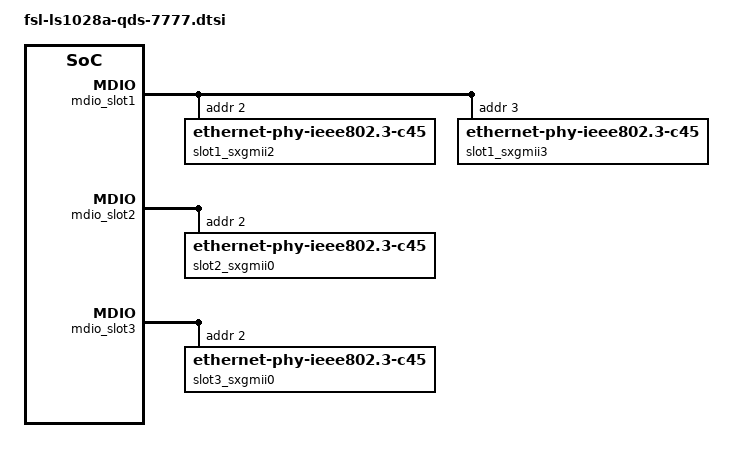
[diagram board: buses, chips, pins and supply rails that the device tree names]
// SPDX-License-Identifier: (GPL-2.0+ OR MIT)
/*
 * Device Tree Include file for LS1028A QDS board, serdes 9999
 *
 * Copyright 2019 NXP
 *
 */

&mdio_slot1 {
	/* two ports on AQR412 */
	slot1_sxgmii2: ethernet-phy@2 {
		reg = <0x2>;
		compatible = "ethernet-phy-ieee802.3-c45";
	};
	slot1_sxgmii3: ethernet-phy@3 {
		reg = <0x3>;
		compatible = "ethernet-phy-ieee802.3-c45";
	};
};

&mdio_slot2 {
	slot2_sxgmii0: ethernet-phy@2 {
		/* AQR112 */
		reg = <0x2>;
		compatible = "ethernet-phy-ieee802.3-c45";
	};
};

&mdio_slot3 {
	slot3_sxgmii0: ethernet-phy@2 {
		/* AQR112 */
		reg = <0x2>;
		compatible = "ethernet-phy-ieee802.3-c45";
	};
};

/* l2switch ports */
&switch_port0 {
	phy-handle = <&slot1_sxgmii2>;
	phy-connection-type = "2500base-x";
};

&switch_port1 {
	phy-handle = <&slot2_sxgmii0>;
	phy-connection-type = "2500base-x";
};

&switch_port2 {
	phy-handle = <&slot3_sxgmii0>;
	phy-connection-type = "2500base-x";
};

&switch_port3 {
	phy-handle = <&slot1_sxgmii3>;
	phy-connection-type = "2500base-x";
};
